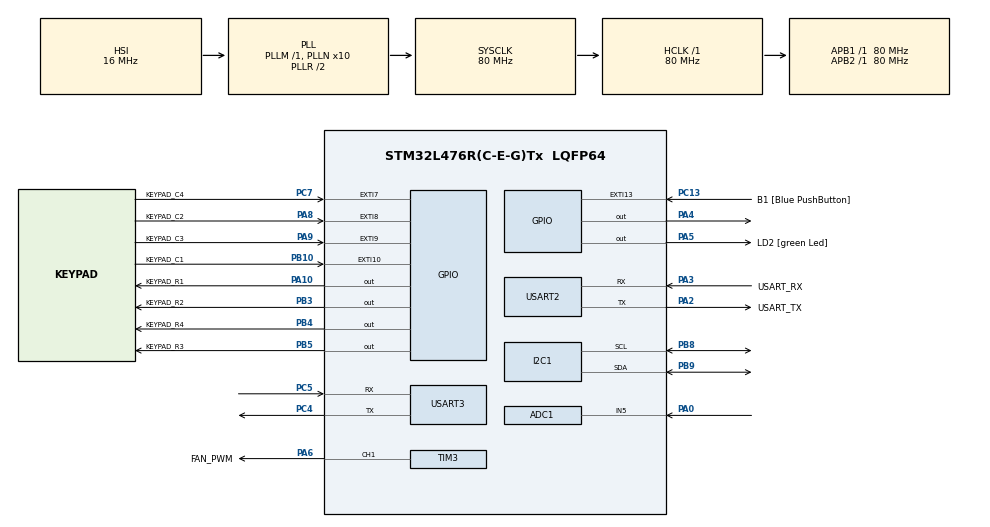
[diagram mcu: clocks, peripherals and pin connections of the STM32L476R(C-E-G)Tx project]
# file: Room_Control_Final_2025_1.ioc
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ADC1.Channel-4\#ChannelRegularConversion=ADC_CHANNEL_5
ADC1.NbrOfConversionFlag=1
ADC1.OffsetNumber-4\#ChannelRegularConversion=ADC_OFFSET_NONE
ADC1.Rank-4\#ChannelRegularConversion=1
ADC1.SamplingTime-4\#ChannelRegularConversion=ADC_SAMPLETIME_2CYCLES_5
ADC1.master=1
Dma.Request0=TIM3_CH1/TRIG
Dma.TIM3_CH1/TRIG.0.Direction=DMA_MEMORY_TO_PERIPH
Dma.TIM3_CH1/TRIG.0.Instance=DMA1_Channel6
Dma.TIM3_CH1/TRIG.0.MemDataAlignment=DMA_MDATAALIGN_HALFWORD
Dma.TIM3_CH1/TRIG.0.MemInc=DMA_MINC_ENABLE
Dma.TIM3_CH1/TRIG.0.Mode=DMA_NORMAL
Dma.TIM3_CH1/TRIG.0.PeriphDataAlignment=DMA_PDATAALIGN_HALFWORD
Dma.TIM3_CH1/TRIG.0.PeriphInc=DMA_PINC_DISABLE
Dma.TIM3_CH1/TRIG.0.Priority=DMA_PRIORITY_LOW
I2C1.Timing=0x10909CEC
Mcu.Family=STM32L4
Mcu.Name=STM32L476R(C-E-G)Tx
Mcu.Package=LQFP64
NVIC.ADC1_2_IRQn=true\:0\:0\:false\:false\:true\:true\:true\:true
NVIC.DMA1_Channel6_IRQn=true\:0\:0\:false\:false\:true\:false\:true\:true
NVIC.EXTI15_10_IRQn=true\:0\:0\:false\:false\:true\:true\:true\:true
NVIC.EXTI9_5_IRQn=true\:0\:0\:false\:false\:true\:true\:true\:true
NVIC.PriorityGroup=NVIC_PRIORITYGROUP_4
NVIC.USART2_IRQn=true\:0\:0\:false\:false\:true\:true\:true\:true
NVIC.USART3_IRQn=true\:0\:0\:false\:false\:true\:true\:true\:true
PA0.Signal=ADCx_IN5
PA10.GPIO_Label=KEYPAD_R1
PA10.Signal=GPIO_Output
PA13\ (JTMS-SWDIO).GPIO_Label=TMS
PA13\ (JTMS-SWDIO).Mode=Serial_Wire
PA13\ (JTMS-SWDIO).Signal=SYS_JTMS-SWDIO
PA14\ (JTCK-SWCLK).GPIO_Label=TCK
PA14\ (JTCK-SWCLK).Mode=Serial_Wire
PA14\ (JTCK-SWCLK).Signal=SYS_JTCK-SWCLK
PA2.GPIO_Label=USART_TX
PA2.GPIO_Mode=GPIO_MODE_AF_PP
PA2.GPIO_PuPd=GPIO_NOPULL
PA2.GPIO_Speed=GPIO_SPEED_FREQ_VERY_HIGH
PA2.Mode=Asynchronous
PA2.Signal=USART2_TX
PA3.GPIO_Label=USART_RX
PA3.GPIO_Mode=GPIO_MODE_AF_PP
PA3.GPIO_PuPd=GPIO_NOPULL
PA3.GPIO_Speed=GPIO_SPEED_FREQ_VERY_HIGH
PA3.Mode=Asynchronous
PA3.Signal=USART2_RX
PA4.Signal=GPIO_Output
PA5.GPIO_Label=LD2 [green Led]
PA5.GPIO_ModeDefaultOutputPP=GPIO_MODE_OUTPUT_PP
PA5.GPIO_PuPd=GPIO_NOPULL
PA5.GPIO_Speed=GPIO_SPEED_FREQ_LOW
PA5.Signal=GPIO_Output
PA6.GPIO_Label=FAN_PWM
PA6.Signal=S_TIM3_CH1
PA8.GPIO_Label=KEYPAD_C2
PA8.Signal=GPXTI8
PA9.GPIO_Label=KEYPAD_C3
PA9.Signal=GPXTI9
PB10.GPIO_Label=KEYPAD_C1
PB10.Signal=GPXTI10
PB3\ (JTDO-TRACESWO).GPIO_Label=KEYPAD_R2
PB3\ (JTDO-TRACESWO).Signal=GPIO_Output
PB4\ (NJTRST).GPIO_Label=KEYPAD_R4
PB4\ (NJTRST).Signal=GPIO_Output
PB5.GPIO_Label=KEYPAD_R3
PB5.Signal=GPIO_Output
PB8.Mode=I2C
PB8.Signal=I2C1_SCL
PB9.Mode=I2C
PB9.Signal=I2C1_SDA
PC13.GPIO_Label=B1 [Blue PushButton]
PC13.GPIO_ModeDefaultEXTI=GPIO_MODE_IT_FALLING
PC13.GPIO_PuPd=GPIO_NOPULL
PC13.Signal=GPXTI13
PC14-OSC32_IN\ (PC14).Mode=LSE-External-Oscillator
PC14-OSC32_IN\ (PC14).Signal=RCC_OSC32_IN
PC15-OSC32_OUT\ (PC15).Mode=LSE-External-Oscillator
PC15-OSC32_OUT\ (PC15).Signal=RCC_OSC32_OUT
PC4.Mode=Asynchronous
PC4.Signal=USART3_TX
PC5.Mode=Asynchronous
PC5.Signal=USART3_RX
PC7.GPIO_Label=KEYPAD_C4
PC7.Signal=GPXTI7
PH0-OSC_IN\ (PH0).Signal=RCC_OSC_IN
PH1-OSC_OUT\ (PH1).Signal=RCC_OSC_OUT
ProjectManager.HeapSize=0x200
ProjectManager.StackSize=0x400
ProjectManager.TargetToolchain=CMake
RCC.ADCFreq_Value=64000000
RCC.AHBFreq_Value=80000000
RCC.APB1Freq_Value=80000000
RCC.APB1TimFreq_Value=80000000
RCC.APB2Freq_Value=80000000
RCC.APB2TimFreq_Value=80000000
RCC.CortexFreq_Value=80000000
RCC.HCLKFreq_Value=80000000
RCC.HSE_VALUE=8000000
RCC.HSI_VALUE=16000000
RCC.MSI_VALUE=4000000
RCC.PLLN=10
RCC.PLLSourceVirtual=RCC_PLLSOURCE_HSI
RCC.PREFETCH_ENABLE=1
RCC.SYSCLKFreq_VALUE=80000000
RCC.SYSCLKSource=RCC_SYSCLKSOURCE_PLLCLK
RCC.USBFreq_Value=64000000
RCC.VCOOutputFreq_Value=160000000
SH.ADCx_IN5.0=ADC1_IN5,IN5-Single-Ended
SH.S_TIM3_CH1.0=TIM3_CH1,PWM Generation1 CH1
TIM3.Channel-PWM\ Generation1\ CH1=TIM_CHANNEL_1
TIM3.Period=100 - 1
TIM3.Prescaler=8000 - 1
USART2.VirtualMode-Asynchronous=VM_ASYNC
USART3.VirtualMode-Asynchronous=VM_ASYNC
board=NUCLEO-L476RG

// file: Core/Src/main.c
/* USER CODE BEGIN Header */
/**
  ******************************************************************************
  * @file           : main.c
  * @brief          : Main program body
  ******************************************************************************
  * @attention
  *
  * Copyright (c) 2025 STMicroelectronics.
  * All rights reserved.
  *
  * This software is licensed under terms that can be found in the LICENSE file
  * in the root directory of this software component.
  * If no LICENSE file comes with this software, it is provided AS-IS.
  *
  ******************************************************************************
  */
/* USER CODE END Header */
#include "main.h"

/* USER CODE BEGIN Includes */
#include "led.h"
#include "keypad.h"
#include "ring_buffer.h"
#include "room_control.h"
#include <stdio.h>

#include "ssd1306.h"
#include "ssd1306_fonts.h"
#include "temperature_sensor.h"
#include "command_parser.h"

/* USER CODE END Includes */

ADC_HandleTypeDef hadc1;

I2C_HandleTypeDef hi2c1;

TIM_HandleTypeDef htim3;
DMA_HandleTypeDef hdma_tim3_ch1_trig;

UART_HandleTypeDef huart2;
UART_HandleTypeDef huart3;

/* USER CODE BEGIN PV */
uint8_t button_pressed = 0; // Flag to indicate if the button is pressed

led_handle_t heartbeat_led = {
    .port = LD2_GPIO_Port,
    .pin = LD2_Pin
};

uint8_t usart_2_rxbyte = 0; // Variable to hold received byte from UART3

keypad_handle_t keypad = {
    .row_ports = {KEYPAD_R1_GPIO_Port, KEYPAD_R2_GPIO_Port, KEYPAD_R3_GPIO_Port, KEYPAD_R4_GPIO_Port},
    .row_pins  = {KEYPAD_R1_Pin, KEYPAD_R2_Pin, KEYPAD_R3_Pin, KEYPAD_R4_Pin},
    .col_ports = {KEYPAD_C1_GPIO_Port, KEYPAD_C2_GPIO_Port, KEYPAD_C3_GPIO_Port, KEYPAD_C4_GPIO_Port},
    .col_pins  = {KEYPAD_C1_Pin, KEYPAD_C2_Pin, KEYPAD_C3_Pin, KEYPAD_C4_Pin}
};

#define KEYPAD_BUFFER_LEN 16
uint8_t keypad_buffer[KEYPAD_BUFFER_LEN];
ring_buffer_t keypad_rb;

volatile uint16_t keypad_interrupt_pin = 0;
volatile uint16_t keypad_interrupt_time = 0; // Tiempo de la interrupción

// Room control system instance
room_control_t room_system;
/* USER CODE END PV */

void SystemClock_Config(void);
static void MX_GPIO_Init(void);
static void MX_DMA_Init(void);
static void MX_USART2_UART_Init(void);
static void MX_I2C1_Init(void);
static void MX_TIM3_Init(void);
static void MX_ADC1_Init(void);
static void MX_USART3_UART_Init(void);

/* USER CODE BEGIN 0 */
/**
 * @brief  Write a character to the UART using printf().
*/
int _write(int file, char *ptr, int len)
{
  (void)file;
  HAL_UART_Transmit(&huart2, (uint8_t *)ptr, len, HAL_MAX_DELAY);
  return len;
}

void write_to_oled(char *message, SSD1306_COLOR color, uint8_t x, uint8_t y)
{
  ssd1306_SetCursor(x, y); // Set cursor to the specified position
  ssd1306_WriteString(message, Font_7x10, color);
  ssd1306_UpdateScreen(); // Update the display to show the message
}

void HAL_GPIO_EXTI_Callback(uint16_t GPIO_Pin)
{
  if (GPIO_Pin == B1_Pin) {
    button_pressed = 1; // Set the flag when the button is pressed
  } else {
    keypad_interrupt_pin = GPIO_Pin;
    keypad_interrupt_time = HAL_GetTick(); // Guardar el tiempo de la interrupción
  }
}

void HAL_UART_RxCpltCallback(UART_HandleTypeDef *huart)
{
  if (huart->Instance == USART2) {
    // Enviar el byte al parser de debug
    command_parser_process_debug(usart_2_rxbyte);

    // Re-armar recepción
    HAL_UART_Receive_IT(&huart2, &usart_2_rxbyte, 1);
  }
  // USART3 lo usaremos en nivel intermedio
}

void heartbeat(void)
{
  static uint32_t last_toggle = 0;
  if (HAL_GetTick() - last_toggle >= 500) { // Toggle every 500 ms
    led_toggle(&heartbeat_led); // Toggle the heartbeat LED
    last_toggle = HAL_GetTick();
  }
}

/* USER CODE END 0 */

int main(void)
{

  /* MCU Configuration--------------------------------------------------------*/

  /* Reset of all peripherals, Initializes the Flash interface and the Systick. */
  HAL_Init();

  /* Configure the system clock */
  SystemClock_Config();

  /* Initialize all configured peripherals */
  MX_GPIO_Init();
  MX_DMA_Init();
  MX_USART2_UART_Init();
  MX_I2C1_Init();
  MX_TIM3_Init();
  MX_ADC1_Init();
  MX_USART3_UART_Init();
  /* USER CODE BEGIN 2 */
  led_init(&heartbeat_led);
  ssd1306_Init();
  HAL_UART_Receive_IT(&huart2, &usart_2_rxbyte, 1);

  ring_buffer_init(&keypad_rb, keypad_buffer, KEYPAD_BUFFER_LEN);
  keypad_init(&keypad);

  temperature_sensor_init();  // Inicializar módulo de temperatura (LM35)

  // TODO: TAREA - Descomentar cuando implementen la lógica del sistema
  room_control_init(&room_system);

  /* USER CODE END 2 */

  /* Infinite loop */
  /* USER CODE BEGIN WHILE */
  // Clear the display
  ssd1306_Fill(Black);
  // write_to_oled("Hello, 4100901!", White, 17, 17);
  // printf("Hello, 4100901!\r\n");
  printf("Sistema iniciado\r\n");
  while (1) {
    heartbeat(); // Call the heartbeat function to toggle the LED

    // TODO: TAREA - Descomentar cuando implementen la máquina de estados
    room_control_update(&room_system);

    // DEMO: Keypad functionality - Remove when implementing room control logic
    static uint32_t last_key_time = 0;      // Guardar el tiempo de la última tecla
    static char last_key_value = '\0';      // Guardar el valor de la última tecla

    if (keypad_interrupt_pin != 0) {
      uint32_t now = HAL_GetTick();

      // Esperar un pequeño tiempo de estabilización del contacto (debounce)
      if (now - keypad_interrupt_time >= 20) {   // ~20 ms de debounce

        char key = keypad_scan(&keypad, keypad_interrupt_pin);
        if (key != '\0') {

          // Filtro extra: si es la misma tecla rebotando muy seguido, la ignoramos
          if ((now - last_key_time > 150) || (key != last_key_value)) {

            write_to_oled(&key, White, 31, 31);

            // Debug: mostrar tecla y estado actual
            printf("[KEYPAD] Tecla: %c, estado actual: %d\r\n",
              key, room_control_get_state(&room_system));

            // TODO: TAREA - Descomentar para enviar teclas al sistema de control
            room_control_process_key(&room_system, key);

            last_key_time = now;
            last_key_value = key;
          }
        }

        keypad_interrupt_pin = 0;
      }
    }

    // DEMO: Button functionality - Remove when implementing room control logic
    if (button_pressed) {
      write_to_oled("Button Pressed!", White, 17, 17); // Display message on OLED
      button_pressed = 0; // Reset the flag
    }

    // DEMO: UART functionality - Remove when implementing room control logic
    if (usart_2_rxbyte != 0) {
      write_to_oled((char *)&usart_2_rxbyte, White, 31, 31); // Display received byte on OLED
      usart_2_rxbyte = 0; // Reset the received byte variable
    }

    // TODO: TAREA - Implementar procesamiento de comandos remotos
    // command_parser_process(); // Procesar comandos de UART2 y UART3

    // TODO: TAREA - Leer sensor de temperatura y actualizar sistema
    float temperature = temperature_sensor_read();
    room_control_set_temperature(&room_system, temperature);

    /* USER CODE END WHILE */

  }
}

void SystemClock_Config(void)
{
  RCC_OscInitTypeDef RCC_OscInitStruct = {0};
  RCC_ClkInitTypeDef RCC_ClkInitStruct = {0};

  /** Configure the main internal regulator output voltage
  */
  if (HAL_PWREx_ControlVoltageScaling(PWR_REGULATOR_VOLTAGE_SCALE1) != HAL_OK)
  {
    Error_Handler();
  }

  /** Initializes the RCC Oscillators according to the specified parameters
  * in the RCC_OscInitTypeDef structure.
  */
  RCC_OscInitStruct.OscillatorType = RCC_OSCILLATORTYPE_HSI;
  RCC_OscInitStruct.HSIState = RCC_HSI_ON;
  RCC_OscInitStruct.HSICalibrationValue = RCC_HSICALIBRATION_DEFAULT;
  RCC_OscInitStruct.PLL.PLLState = RCC_PLL_ON;
  RCC_OscInitStruct.PLL.PLLSource = RCC_PLLSOURCE_HSI;
  RCC_OscInitStruct.PLL.PLLM = 1;
  RCC_OscInitStruct.PLL.PLLN = 10;
  RCC_OscInitStruct.PLL.PLLP = RCC_PLLP_DIV7;
  RCC_OscInitStruct.PLL.PLLQ = RCC_PLLQ_DIV2;
  RCC_OscInitStruct.PLL.PLLR = RCC_PLLR_DIV2;
  if (HAL_RCC_OscConfig(&RCC_OscInitStruct) != HAL_OK)
  {
    Error_Handler();
  }

  /** Initializes the CPU, AHB and APB buses clocks
  */
  RCC_ClkInitStruct.ClockType = RCC_CLOCKTYPE_HCLK|RCC_CLOCKTYPE_SYSCLK
                              |RCC_CLOCKTYPE_PCLK1|RCC_CLOCKTYPE_PCLK2;
  RCC_ClkInitStruct.SYSCLKSource = RCC_SYSCLKSOURCE_PLLCLK;
  RCC_ClkInitStruct.AHBCLKDivider = RCC_SYSCLK_DIV1;
  RCC_ClkInitStruct.APB1CLKDivider = RCC_HCLK_DIV1;
  RCC_ClkInitStruct.APB2CLKDivider = RCC_HCLK_DIV1;

  if (HAL_RCC_ClockConfig(&RCC_ClkInitStruct, FLASH_LATENCY_4) != HAL_OK)
  {
    Error_Handler();
  }
}

static void MX_ADC1_Init(void)
{

  ADC_MultiModeTypeDef multimode = {0};
  ADC_ChannelConfTypeDef sConfig = {0};

  /** Common config
  */
  hadc1.Instance = ADC1;
  hadc1.Init.ClockPrescaler = ADC_CLOCK_ASYNC_DIV1;
  hadc1.Init.Resolution = ADC_RESOLUTION_12B;
  hadc1.Init.DataAlign = ADC_DATAALIGN_RIGHT;
  hadc1.Init.ScanConvMode = ADC_SCAN_DISABLE;
  hadc1.Init.EOCSelection = ADC_EOC_SINGLE_CONV;
  hadc1.Init.LowPowerAutoWait = DISABLE;
  hadc1.Init.ContinuousConvMode = DISABLE;
  hadc1.Init.NbrOfConversion = 1;
  hadc1.Init.DiscontinuousConvMode = DISABLE;
  hadc1.Init.ExternalTrigConv = ADC_SOFTWARE_START;
  hadc1.Init.ExternalTrigConvEdge = ADC_EXTERNALTRIGCONVEDGE_NONE;
  hadc1.Init.DMAContinuousRequests = DISABLE;
  hadc1.Init.Overrun = ADC_OVR_DATA_PRESERVED;
  hadc1.Init.OversamplingMode = DISABLE;
  if (HAL_ADC_Init(&hadc1) != HAL_OK)
  {
    Error_Handler();
  }

  /** Configure the ADC multi-mode
  */
  multimode.Mode = ADC_MODE_INDEPENDENT;
  if (HAL_ADCEx_MultiModeConfigChannel(&hadc1, &multimode) != HAL_OK)
  {
    Error_Handler();
  }

  /** Configure Regular Channel
  */
  sConfig.Channel = ADC_CHANNEL_5;
  sConfig.Rank = ADC_REGULAR_RANK_1;
  sConfig.SamplingTime = ADC_SAMPLETIME_2CYCLES_5;
  sConfig.SingleDiff = ADC_SINGLE_ENDED;
  sConfig.OffsetNumber = ADC_OFFSET_NONE;
  sConfig.Offset = 0;
  if (HAL_ADC_ConfigChannel(&hadc1, &sConfig) != HAL_OK)
  {
    Error_Handler();
  }

}

static void MX_I2C1_Init(void)
{

  hi2c1.Instance = I2C1;
  hi2c1.Init.Timing = 0x10909CEC;
  hi2c1.Init.OwnAddress1 = 0;
  hi2c1.Init.AddressingMode = I2C_ADDRESSINGMODE_7BIT;
  hi2c1.Init.DualAddressMode = I2C_DUALADDRESS_DISABLE;
  hi2c1.Init.OwnAddress2 = 0;
  hi2c1.Init.OwnAddress2Masks = I2C_OA2_NOMASK;
  hi2c1.Init.GeneralCallMode = I2C_GENERALCALL_DISABLE;
  hi2c1.Init.NoStretchMode = I2C_NOSTRETCH_DISABLE;
  if (HAL_I2C_Init(&hi2c1) != HAL_OK)
  {
    Error_Handler();
  }

  /** Configure Analogue filter
  */
  if (HAL_I2CEx_ConfigAnalogFilter(&hi2c1, I2C_ANALOGFILTER_ENABLE) != HAL_OK)
  {
    Error_Handler();
  }

  /** Configure Digital filter
  */
  if (HAL_I2CEx_ConfigDigitalFilter(&hi2c1, 0) != HAL_OK)
  {
    Error_Handler();
  }

}

static void MX_TIM3_Init(void)
{

  TIM_MasterConfigTypeDef sMasterConfig = {0};
  TIM_OC_InitTypeDef sConfigOC = {0};

  htim3.Instance = TIM3;
  htim3.Init.Prescaler = 8000 - 1;
  htim3.Init.CounterMode = TIM_COUNTERMODE_UP;
  htim3.Init.Period = 100 - 1;
  htim3.Init.ClockDivision = TIM_CLOCKDIVISION_DIV1;
  htim3.Init.AutoReloadPreload = TIM_AUTORELOAD_PRELOAD_DISABLE;
  if (HAL_TIM_PWM_Init(&htim3) != HAL_OK)
  {
    Error_Handler();
  }
  sMasterConfig.MasterOutputTrigger = TIM_TRGO_RESET;
  sMasterConfig.MasterSlaveMode = TIM_MASTERSLAVEMODE_DISABLE;
  if (HAL_TIMEx_MasterConfigSynchronization(&htim3, &sMasterConfig) != HAL_OK)
  {
    Error_Handler();
  }
  sConfigOC.OCMode = TIM_OCMODE_PWM1;
  sConfigOC.Pulse = 0;
  sConfigOC.OCPolarity = TIM_OCPOLARITY_HIGH;
  sConfigOC.OCFastMode = TIM_OCFAST_DISABLE;
  if (HAL_TIM_PWM_ConfigChannel(&htim3, &sConfigOC, TIM_CHANNEL_1) != HAL_OK)
  {
    Error_Handler();
  }
  HAL_TIM_MspPostInit(&htim3);

}

static void MX_USART2_UART_Init(void)
{

  huart2.Instance = USART2;
  huart2.Init.BaudRate = 115200;
  huart2.Init.WordLength = UART_WORDLENGTH_8B;
  huart2.Init.StopBits = UART_STOPBITS_1;
  huart2.Init.Parity = UART_PARITY_NONE;
  huart2.Init.Mode = UART_MODE_TX_RX;
  huart2.Init.HwFlowCtl = UART_HWCONTROL_NONE;
  huart2.Init.OverSampling = UART_OVERSAMPLING_16;
  huart2.Init.OneBitSampling = UART_ONE_BIT_SAMPLE_DISABLE;
  huart2.AdvancedInit.AdvFeatureInit = UART_ADVFEATURE_NO_INIT;
  if (HAL_UART_Init(&huart2) != HAL_OK)
  {
    Error_Handler();
  }

}

static void MX_USART3_UART_Init(void)
{

  huart3.Instance = USART3;
  huart3.Init.BaudRate = 115200;
  huart3.Init.WordLength = UART_WORDLENGTH_8B;
  huart3.Init.StopBits = UART_STOPBITS_1;
  huart3.Init.Parity = UART_PARITY_NONE;
  huart3.Init.Mode = UART_MODE_TX_RX;
  huart3.Init.HwFlowCtl = UART_HWCONTROL_NONE;
  huart3.Init.OverSampling = UART_OVERSAMPLING_16;
  huart3.Init.OneBitSampling = UART_ONE_BIT_SAMPLE_DISABLE;
  huart3.AdvancedInit.AdvFeatureInit = UART_ADVFEATURE_NO_INIT;
  if (HAL_UART_Init(&huart3) != HAL_OK)
  {
    Error_Handler();
  }

}

static void MX_DMA_Init(void)
{

  /* DMA controller clock enable */
  __HAL_RCC_DMA1_CLK_ENABLE();

  /* DMA interrupt init */
  /* DMA1_Channel6_IRQn interrupt configuration */
  HAL_NVIC_SetPriority(DMA1_Channel6_IRQn, 0, 0);
  HAL_NVIC_EnableIRQ(DMA1_Channel6_IRQn);

}

static void MX_GPIO_Init(void)
{
  GPIO_InitTypeDef GPIO_InitStruct = {0};

  /* GPIO Ports Clock Enable */
  __HAL_RCC_GPIOC_CLK_ENABLE();
  __HAL_RCC_GPIOH_CLK_ENABLE();
  __HAL_RCC_GPIOA_CLK_ENABLE();
  __HAL_RCC_GPIOB_CLK_ENABLE();

  /*Configure GPIO pin Output Level */
  HAL_GPIO_WritePin(GPIOA, GPIO_PIN_4|LD2_Pin|KEYPAD_R1_Pin, GPIO_PIN_RESET);

  /*Configure GPIO pin Output Level */
  HAL_GPIO_WritePin(GPIOB, KEYPAD_R2_Pin|KEYPAD_R4_Pin|KEYPAD_R3_Pin, GPIO_PIN_RESET);

  /*Configure GPIO pin : B1_Pin */
  GPIO_InitStruct.Pin = B1_Pin;
  GPIO_InitStruct.Mode = GPIO_MODE_IT_FALLING;
  GPIO_InitStruct.Pull = GPIO_NOPULL;
  HAL_GPIO_Init(B1_GPIO_Port, &GPIO_InitStruct);

  /*Configure GPIO pins : PA4 LD2_Pin KEYPAD_R1_Pin */
  GPIO_InitStruct.Pin = GPIO_PIN_4|LD2_Pin|KEYPAD_R1_Pin;
  GPIO_InitStruct.Mode = GPIO_MODE_OUTPUT_PP;
  GPIO_InitStruct.Pull = GPIO_NOPULL;
  GPIO_InitStruct.Speed = GPIO_SPEED_FREQ_LOW;
  HAL_GPIO_Init(GPIOA, &GPIO_InitStruct);

  /*Configure GPIO pin : KEYPAD_C1_Pin */
  GPIO_InitStruct.Pin = KEYPAD_C1_Pin;
  GPIO_InitStruct.Mode = GPIO_MODE_IT_RISING;
  GPIO_InitStruct.Pull = GPIO_NOPULL;
  HAL_GPIO_Init(KEYPAD_C1_GPIO_Port, &GPIO_InitStruct);

  /*Configure GPIO pin : KEYPAD_C4_Pin */
  GPIO_InitStruct.Pin = KEYPAD_C4_Pin;
  GPIO_InitStruct.Mode = GPIO_MODE_IT_RISING;
  GPIO_InitStruct.Pull = GPIO_NOPULL;
  HAL_GPIO_Init(KEYPAD_C4_GPIO_Port, &GPIO_InitStruct);

  /*Configure GPIO pins : KEYPAD_C2_Pin KEYPAD_C3_Pin */
  GPIO_InitStruct.Pin = KEYPAD_C2_Pin|KEYPAD_C3_Pin;
  GPIO_InitStruct.Mode = GPIO_MODE_IT_RISING;
  GPIO_InitStruct.Pull = GPIO_NOPULL;
  HAL_GPIO_Init(GPIOA, &GPIO_InitStruct);

  /*Configure GPIO pins : KEYPAD_R2_Pin KEYPAD_R4_Pin KEYPAD_R3_Pin */
  GPIO_InitStruct.Pin = KEYPAD_R2_Pin|KEYPAD_R4_Pin|KEYPAD_R3_Pin;
  GPIO_InitStruct.Mode = GPIO_MODE_OUTPUT_PP;
  GPIO_InitStruct.Pull = GPIO_NOPULL;
  GPIO_InitStruct.Speed = GPIO_SPEED_FREQ_LOW;
  HAL_GPIO_Init(GPIOB, &GPIO_InitStruct);

  /* EXTI interrupt init*/
  HAL_NVIC_SetPriority(EXTI9_5_IRQn, 0, 0);
  HAL_NVIC_EnableIRQ(EXTI9_5_IRQn);

  HAL_NVIC_SetPriority(EXTI15_10_IRQn, 0, 0);
  HAL_NVIC_EnableIRQ(EXTI15_10_IRQn);

}

void Error_Handler(void)
{
  __disable_irq();
  while (1)
  {
  }
}
